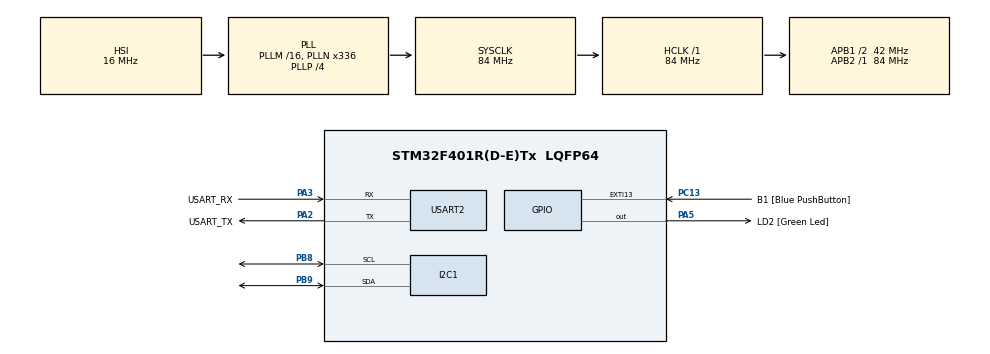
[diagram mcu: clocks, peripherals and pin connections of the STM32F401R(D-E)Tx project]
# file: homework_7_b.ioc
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Dma.Request0=USART2_TX
Dma.USART2_TX.0.Direction=DMA_MEMORY_TO_PERIPH
Dma.USART2_TX.0.FIFOMode=DMA_FIFOMODE_DISABLE
Dma.USART2_TX.0.Instance=DMA1_Stream6
Dma.USART2_TX.0.MemDataAlignment=DMA_MDATAALIGN_BYTE
Dma.USART2_TX.0.MemInc=DMA_MINC_ENABLE
Dma.USART2_TX.0.Mode=DMA_NORMAL
Dma.USART2_TX.0.PeriphDataAlignment=DMA_PDATAALIGN_BYTE
Dma.USART2_TX.0.PeriphInc=DMA_PINC_DISABLE
Dma.USART2_TX.0.Priority=DMA_PRIORITY_LOW
Mcu.Family=STM32F4
Mcu.Name=STM32F401R(D-E)Tx
Mcu.Package=LQFP64
NVIC.DMA1_Stream6_IRQn=true\:0\:0\:true\:false\:true\:false\:true\:true
NVIC.I2C1_EV_IRQn=true\:0\:0\:false\:false\:true\:true\:true\:true
NVIC.PriorityGroup=NVIC_PRIORITYGROUP_1
NVIC.TIM2_IRQn=true\:0\:0\:false\:false\:true\:true\:true\:true
NVIC.USART2_IRQn=true\:0\:0\:false\:false\:true\:true\:true\:true
PA13.GPIO_Label=TMS
PA13.Mode=Serial_Wire
PA13.Signal=SYS_JTMS-SWDIO
PA14.GPIO_Label=TCK
PA14.Mode=Serial_Wire
PA14.Signal=SYS_JTCK-SWCLK
PA2.GPIO_Label=USART_TX
PA2.GPIO_Mode=GPIO_MODE_AF_PP
PA2.GPIO_PuPd=GPIO_NOPULL
PA2.GPIO_Speed=GPIO_SPEED_FREQ_LOW
PA2.Mode=Asynchronous
PA2.Signal=USART2_TX
PA3.GPIO_Label=USART_RX
PA3.GPIO_Mode=GPIO_MODE_AF_PP
PA3.GPIO_PuPd=GPIO_NOPULL
PA3.GPIO_Speed=GPIO_SPEED_FREQ_LOW
PA3.Mode=Asynchronous
PA3.Signal=USART2_RX
PA5.GPIO_Label=LD2 [Green Led]
PA5.GPIO_Mode=GPIO_MODE_OUTPUT_PP
PA5.GPIO_PuPd=GPIO_NOPULL
PA5.GPIO_Speed=GPIO_SPEED_FREQ_LOW
PA5.Signal=GPIO_Output
PB3.GPIO_Label=SWO
PB3.Signal=SYS_JTDO-SWO
PB8.Mode=I2C
PB8.Signal=I2C1_SCL
PB9.Mode=I2C
PB9.Signal=I2C1_SDA
PC13-ANTI_TAMP.GPIO_Label=B1 [Blue PushButton]
PC13-ANTI_TAMP.GPIO_ModeDefaultEXTI=GPIO_MODE_IT_FALLING
PC13-ANTI_TAMP.GPIO_PuPd=GPIO_NOPULL
PC13-ANTI_TAMP.Signal=GPXTI13
PC14-OSC32_IN.Mode=LSE-External-Oscillator
PC14-OSC32_IN.Signal=RCC_OSC32_IN
PC15-OSC32_OUT.Mode=LSE-External-Oscillator
PC15-OSC32_OUT.Signal=RCC_OSC32_OUT
PH0\ -\ OSC_IN.Mode=HSE-External-Clock-Source
PH0\ -\ OSC_IN.Signal=RCC_OSC_IN
PH1\ -\ OSC_OUT.Mode=HSE-External-Clock-Source
PH1\ -\ OSC_OUT.Signal=RCC_OSC_OUT
ProjectManager.HeapSize=0x200
ProjectManager.StackSize=0x400
ProjectManager.TargetToolchain=STM32CubeIDE
RCC.48MHZClocksFreq_Value=48000000
RCC.AHBFreq_Value=84000000
RCC.APB1CLKDivider=RCC_HCLK_DIV2
RCC.APB1Freq_Value=42000000
RCC.APB1TimFreq_Value=84000000
RCC.APB2Freq_Value=84000000
RCC.APB2TimFreq_Value=84000000
RCC.CortexFreq_Value=84000000
RCC.HCLKFreq_Value=84000000
RCC.HSE_VALUE=8000000
RCC.HSI_VALUE=16000000
RCC.PLLN=336
RCC.PLLP=RCC_PLLP_DIV4
RCC.PLLQ=7
RCC.SYSCLKFreq_VALUE=84000000
RCC.SYSCLKSource=RCC_SYSCLKSOURCE_PLLCLK
RCC.VCOOutputFreq_Value=336000000
TIM2.Period=84000000-1
TIM2.TIM_MasterOutputTrigger=TIM_TRGO_RESET
USART2.VirtualMode=VM_ASYNC
VP_TIM2_VS_ClockSourceINT.Mode=Internal
board=NUCLEO-F401RE

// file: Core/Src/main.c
/* USER CODE BEGIN Header */
/**
  ******************************************************************************
  * @file           : main.c
  * @brief          : Main program body
  ******************************************************************************
  * @attention
  *
  * Copyright (c) 2022 STMicroelectronics.
  * All rights reserved.
  *
  * This software is licensed under terms that can be found in the LICENSE file
  * in the root directory of this software component.
  * If no LICENSE file comes with this software, it is provided AS-IS.
  *
  ******************************************************************************
  */
/* USER CODE END Header */
#include "main.h"

/* USER CODE BEGIN PTD */
typedef enum {false, true} bool;
/* USER CODE END PTD */

/* USER CODE BEGIN PD */
#define LIS2DE_ADDRESS_AND_WRITE 0b01010000         //LIS2DE_ADDRESS+0
#define LIS2DE_ADDRESS_AND_READ 0b01010001          //LIS2DE_ADDRESS+1
#define LIS2DE12_ADDRESS_AND_WRITE 0b00110000       //LIS2DE12_ADDRESS+0
#define LIS2DE12_ADDRESS_AND_READ 0b00110001        //LIS2DE12_ADDRESS+1
/* USER CODE END PD */

I2C_HandleTypeDef hi2c1;

TIM_HandleTypeDef htim2;

UART_HandleTypeDef huart2;
DMA_HandleTypeDef hdma_usart2_tx;

/* USER CODE BEGIN PV */

bool STARTUP_OVERFLOW = true;
uint8_t Sensor_Addres_And_Write;
uint8_t Sensor_Addres_And_Read;

//reg address, 1Hz + XYZ enable
uint8_t ctrl_reg1[] = {0x20, 0b00010111};

//reg address, no HPF (default value at startup)
uint8_t ctrl_reg2[] = {0x21, 0b00000000};

//reg address, continuous update + +-2g FSR + self test disabled (default value at startup)
uint8_t ctrl_reg4[] = {0x23, 0b00000000};

//address of the axis register
uint8_t axis_regs_addresses[3] = {0x29, 0x2B, 0x2D};

/* USER CODE END PV */

void SystemClock_Config(void);
static void MX_GPIO_Init(void);
static void MX_DMA_Init(void);
static void MX_USART2_UART_Init(void);
static void MX_I2C1_Init(void);
static void MX_TIM2_Init(void);

/* USER CODE BEGIN 0 */

void HAL_TIM_PeriodElapsedCallback(TIM_HandleTypeDef* calling_timer){
  if(calling_timer==&htim2){
    if(STARTUP_OVERFLOW==true){
      STARTUP_OVERFLOW=false;
    }
    else{
      acquire_acceleration();
    }
  }
}

void acquire_acceleration(){
  char output_string[64];
  int8_t axis_datas[3];
  float g_axis[3];

  for(int i=0; i<3; i++){
    HAL_I2C_Master_Transmit(&hi2c1, Sensor_Addres_And_Write, &(axis_regs_addresses[i]), 1, 50);
    HAL_I2C_Master_Receive(&hi2c1, Sensor_Addres_And_Read, &(axis_datas[i]), 1, 50);
    g_axis[i]=axis_datas[i]*0.015625;    //measure€[-2g, +2g] --> FSR=4g/2^8=0.015625g
  }

  snprintf(output_string, sizeof(output_string), "x=%.2fg, y=%.2fg, z=%.2fg\r\n", g_axis[0], g_axis[1], g_axis[2]);
  HAL_UART_Transmit_DMA(&huart2, output_string, strlen(output_string));
}

/* USER CODE END 0 */

int main(void)
{

  /* MCU Configuration--------------------------------------------------------*/

  /* Reset of all peripherals, Initializes the Flash interface and the Systick. */
  HAL_Init();

  /* Configure the system clock */
  SystemClock_Config();

  /* Initialize all configured peripherals */
  MX_GPIO_Init();
  MX_DMA_Init();
  MX_USART2_UART_Init();
  MX_I2C1_Init();
  MX_TIM2_Init();
  /* USER CODE BEGIN 2 */

  //Checking if accelerometer is LIS2DE or LIS2DE12
  if(HAL_I2C_Master_Transmit(&hi2c1, LIS2DE_ADDRESS_AND_WRITE, 0b00000000, 1, 50)==HAL_OK){
    Sensor_Addres_And_Write=LIS2DE_ADDRESS_AND_WRITE;
    Sensor_Addres_And_Read=LIS2DE_ADDRESS_AND_READ;
  }
  else{
    Sensor_Addres_And_Write=LIS2DE12_ADDRESS_AND_WRITE;
    Sensor_Addres_And_Read=LIS2DE12_ADDRESS_AND_READ;
  }

  //Configuring accelerometer settings
  HAL_I2C_Master_Transmit(&hi2c1, Sensor_Addres_And_Write, ctrl_reg1, sizeof(ctrl_reg1), 50);
  HAL_I2C_Master_Transmit(&hi2c1, Sensor_Addres_And_Write, ctrl_reg2, sizeof(ctrl_reg2), 50);
  HAL_I2C_Master_Transmit(&hi2c1, Sensor_Addres_And_Write, ctrl_reg4, sizeof(ctrl_reg4), 50);

  HAL_TIM_Base_Start_IT(&htim2);

  /* USER CODE END 2 */

  /* Infinite loop */
  while (1)
  {

  }
}

void SystemClock_Config(void)
{
  RCC_OscInitTypeDef RCC_OscInitStruct = {0};
  RCC_ClkInitTypeDef RCC_ClkInitStruct = {0};

  /** Configure the main internal regulator output voltage
  */
  __HAL_RCC_PWR_CLK_ENABLE();
  __HAL_PWR_VOLTAGESCALING_CONFIG(PWR_REGULATOR_VOLTAGE_SCALE2);

  /** Initializes the RCC Oscillators according to the specified parameters
  * in the RCC_OscInitTypeDef structure.
  */
  RCC_OscInitStruct.OscillatorType = RCC_OSCILLATORTYPE_HSI;
  RCC_OscInitStruct.HSIState = RCC_HSI_ON;
  RCC_OscInitStruct.HSICalibrationValue = RCC_HSICALIBRATION_DEFAULT;
  RCC_OscInitStruct.PLL.PLLState = RCC_PLL_ON;
  RCC_OscInitStruct.PLL.PLLSource = RCC_PLLSOURCE_HSI;
  RCC_OscInitStruct.PLL.PLLM = 16;
  RCC_OscInitStruct.PLL.PLLN = 336;
  RCC_OscInitStruct.PLL.PLLP = RCC_PLLP_DIV4;
  RCC_OscInitStruct.PLL.PLLQ = 7;
  if (HAL_RCC_OscConfig(&RCC_OscInitStruct) != HAL_OK)
  {
    Error_Handler();
  }

  /** Initializes the CPU, AHB and APB buses clocks
  */
  RCC_ClkInitStruct.ClockType = RCC_CLOCKTYPE_HCLK|RCC_CLOCKTYPE_SYSCLK
                              |RCC_CLOCKTYPE_PCLK1|RCC_CLOCKTYPE_PCLK2;
  RCC_ClkInitStruct.SYSCLKSource = RCC_SYSCLKSOURCE_PLLCLK;
  RCC_ClkInitStruct.AHBCLKDivider = RCC_SYSCLK_DIV1;
  RCC_ClkInitStruct.APB1CLKDivider = RCC_HCLK_DIV2;
  RCC_ClkInitStruct.APB2CLKDivider = RCC_HCLK_DIV1;

  if (HAL_RCC_ClockConfig(&RCC_ClkInitStruct, FLASH_LATENCY_2) != HAL_OK)
  {
    Error_Handler();
  }
}

static void MX_I2C1_Init(void)
{

  hi2c1.Instance = I2C1;
  hi2c1.Init.ClockSpeed = 100000;
  hi2c1.Init.DutyCycle = I2C_DUTYCYCLE_2;
  hi2c1.Init.OwnAddress1 = 0;
  hi2c1.Init.AddressingMode = I2C_ADDRESSINGMODE_7BIT;
  hi2c1.Init.DualAddressMode = I2C_DUALADDRESS_DISABLE;
  hi2c1.Init.OwnAddress2 = 0;
  hi2c1.Init.GeneralCallMode = I2C_GENERALCALL_DISABLE;
  hi2c1.Init.NoStretchMode = I2C_NOSTRETCH_DISABLE;
  if (HAL_I2C_Init(&hi2c1) != HAL_OK)
  {
    Error_Handler();
  }

}

static void MX_TIM2_Init(void)
{

  TIM_ClockConfigTypeDef sClockSourceConfig = {0};
  TIM_MasterConfigTypeDef sMasterConfig = {0};

  htim2.Instance = TIM2;
  htim2.Init.Prescaler = 0;
  htim2.Init.CounterMode = TIM_COUNTERMODE_UP;
  htim2.Init.Period = 84000000-1;
  htim2.Init.ClockDivision = TIM_CLOCKDIVISION_DIV1;
  htim2.Init.AutoReloadPreload = TIM_AUTORELOAD_PRELOAD_DISABLE;
  if (HAL_TIM_Base_Init(&htim2) != HAL_OK)
  {
    Error_Handler();
  }
  sClockSourceConfig.ClockSource = TIM_CLOCKSOURCE_INTERNAL;
  if (HAL_TIM_ConfigClockSource(&htim2, &sClockSourceConfig) != HAL_OK)
  {
    Error_Handler();
  }
  sMasterConfig.MasterOutputTrigger = TIM_TRGO_RESET;
  sMasterConfig.MasterSlaveMode = TIM_MASTERSLAVEMODE_DISABLE;
  if (HAL_TIMEx_MasterConfigSynchronization(&htim2, &sMasterConfig) != HAL_OK)
  {
    Error_Handler();
  }

}

static void MX_USART2_UART_Init(void)
{

  huart2.Instance = USART2;
  huart2.Init.BaudRate = 115200;
  huart2.Init.WordLength = UART_WORDLENGTH_8B;
  huart2.Init.StopBits = UART_STOPBITS_1;
  huart2.Init.Parity = UART_PARITY_NONE;
  huart2.Init.Mode = UART_MODE_TX_RX;
  huart2.Init.HwFlowCtl = UART_HWCONTROL_NONE;
  huart2.Init.OverSampling = UART_OVERSAMPLING_16;
  if (HAL_UART_Init(&huart2) != HAL_OK)
  {
    Error_Handler();
  }

}

static void MX_DMA_Init(void)
{

  /* DMA controller clock enable */
  __HAL_RCC_DMA1_CLK_ENABLE();

  /* DMA interrupt init */
  /* DMA1_Stream6_IRQn interrupt configuration */
  HAL_NVIC_SetPriority(DMA1_Stream6_IRQn, 0, 0);
  HAL_NVIC_EnableIRQ(DMA1_Stream6_IRQn);

}

static void MX_GPIO_Init(void)
{
  GPIO_InitTypeDef GPIO_InitStruct = {0};

  /* GPIO Ports Clock Enable */
  __HAL_RCC_GPIOC_CLK_ENABLE();
  __HAL_RCC_GPIOH_CLK_ENABLE();
  __HAL_RCC_GPIOA_CLK_ENABLE();
  __HAL_RCC_GPIOB_CLK_ENABLE();

  /*Configure GPIO pin Output Level */
  HAL_GPIO_WritePin(LD2_GPIO_Port, LD2_Pin, GPIO_PIN_RESET);

  /*Configure GPIO pin : B1_Pin */
  GPIO_InitStruct.Pin = B1_Pin;
  GPIO_InitStruct.Mode = GPIO_MODE_IT_FALLING;
  GPIO_InitStruct.Pull = GPIO_NOPULL;
  HAL_GPIO_Init(B1_GPIO_Port, &GPIO_InitStruct);

  /*Configure GPIO pin : LD2_Pin */
  GPIO_InitStruct.Pin = LD2_Pin;
  GPIO_InitStruct.Mode = GPIO_MODE_OUTPUT_PP;
  GPIO_InitStruct.Pull = GPIO_NOPULL;
  GPIO_InitStruct.Speed = GPIO_SPEED_FREQ_LOW;
  HAL_GPIO_Init(LD2_GPIO_Port, &GPIO_InitStruct);

}

void Error_Handler(void)
{
  __disable_irq();
  while (1)
  {
  }
}
